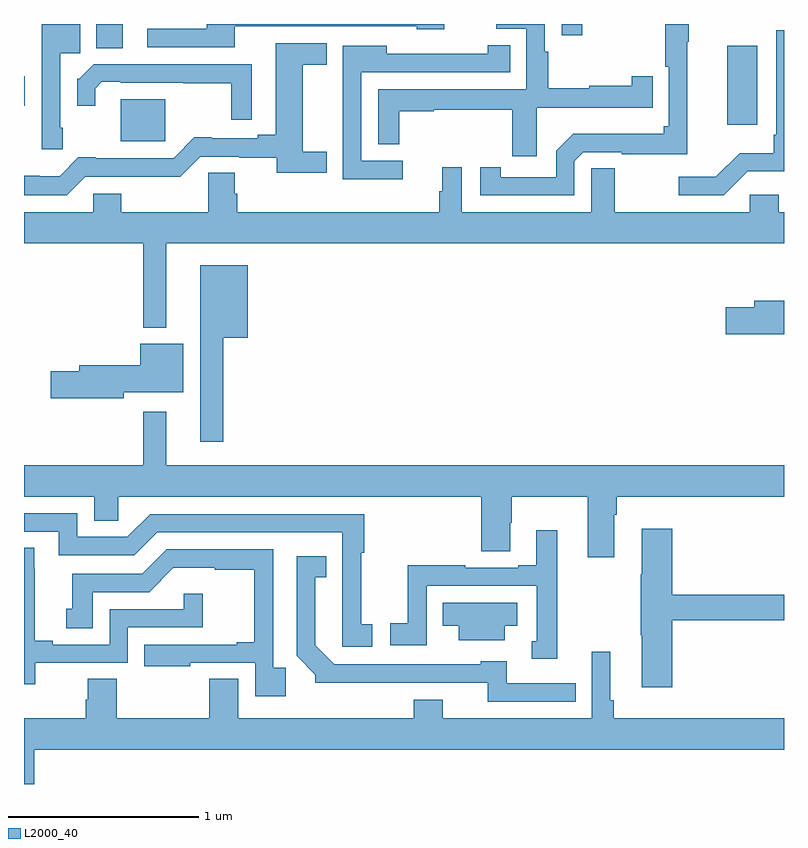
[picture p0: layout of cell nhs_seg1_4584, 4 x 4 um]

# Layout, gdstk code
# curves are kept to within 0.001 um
import gdstk
lib = gdstk.Library(unit=1e-6, precision=1e-09)
def R(c, l, rs):  # rectangles x0, y0, x1, y1
    for r in rs: c.add(gdstk.rectangle(r[:2], r[2:], *l))
def P(c, l, *ps):  # polygons
    for p in ps: c.add(gdstk.Polygon(p, *l))
L2000_40 = (2000, 40)

nhs_seg1_4584 = lib.new_cell('nhs_seg1_4584')
R(nhs_seg1_4584, L2000_40, [(359.51,573.581,359.743,573.802), (362.702,573.669,362.86,574.084), (359,573.769,359.005,573.924), (359.381,574.072,359.521,574.199), (361.83,574.14,361.939,574.199)])
P(nhs_seg1_4584, L2000_40, [(359.203,573.652),(359.19,573.652),(359.19,574.044),(359.296,574.044),(359.296,574.199),(359.094,574.199),(359.094,573.54),(359.203,573.54)],
  [(360.109,574.188),(361.068,574.188),(361.068,574.172),(361.213,574.172),(361.213,574.199),(359.962,574.199),(359.962,574.175),(359.649,574.175),(359.649,574.077),(360.109,574.077)],
  [(361.896,573.477),(361.944,573.525),(362.147,573.525),(362.147,573.513),(362.492,573.513),(362.492,574.106),(362.498,574.106),(362.498,574.199),(362.374,574.199),(362.374,573.974),(362.394,573.974),(362.394,573.66),(362.366,573.66),(362.366,573.622),(361.891,573.622),(361.8,573.531),(361.8,573.393),(361.51,573.393),(361.51,573.445),(361.401,573.445),(361.401,573.297),(361.896,573.297)],
  [(361.699,573.758),(362.309,573.758),(362.309,573.925),(362.198,573.925),(362.198,573.875),(361.974,573.875),(361.974,573.86),(361.76,573.86),(361.76,574.052),(361.74,574.052),(361.74,574.199),(361.485,574.199),(361.485,574.173),(361.644,574.173),(361.644,573.855),(360.864,573.855),(360.864,573.565),(360.976,573.565),(360.976,573.739),(361.157,573.739),(361.157,573.747),(361.571,573.747),(361.571,573.504),(361.699,573.504)],
  [(362.809,573.423),(363,573.423),(363,574.167),(362.958,574.167),(362.958,573.616),(362.946,573.616),(362.946,573.52),(362.768,573.52),(362.642,573.394),(362.445,573.394),(362.445,573.297),(362.683,573.297)],
  [(359.322,573.396),(359.822,573.395),(359.928,573.501),(360.132,573.501),(360.132,573.496),(360.329,573.496),(360.329,573.416),(360.593,573.416),(360.593,573.527),(360.466,573.527),(360.466,573.985),(360.593,573.985),(360.593,574.099),(360.326,574.099),(360.326,573.617),(360.23,573.617),(360.23,573.597),(359.989,573.597),(359.989,573.602),(359.897,573.602),(359.787,573.492),(359.377,573.492),(359.377,573.497),(359.285,573.497),(359.187,573.399),(359,573.4),(359,573.299),(359.225,573.299)],
  [(360.994,573.48),(360.774,573.48),(360.774,573.945),(361.559,573.945),(361.559,574.088),(361.441,574.088),(361.441,574.042),(360.91,574.042),(360.91,574.084),(360.678,574.084),(360.678,573.848),(360.677,573.848),(360.677,573.613),(360.678,573.613),(360.678,573.383),(360.994,573.383)],
  [(360.198,573.987),(359.366,573.987),(359.291,573.912),(359.28,573.912),(359.28,573.768),(359.375,573.768),(359.375,573.858),(359.41,573.894),(359.509,573.894),(359.509,573.891),(359.839,573.891),(359.839,573.886),(360.09,573.886),(360.09,573.696),(360.198,573.696)],
  [(359.749,573.044),(363,573.044),(363,573.208),(362.972,573.208),(362.972,573.301),(362.82,573.301),(362.82,573.208),(362.109,573.208),(362.109,573.44),(361.986,573.44),(361.986,573.208),(361.303,573.208),(361.303,573.445),(361.202,573.445),(361.202,573.318),(361.185,573.318),(361.185,573.208),(360.122,573.208),(360.122,573.306),(360.109,573.306),(360.109,573.416),(359.97,573.416),(359.97,573.208),(359.511,573.208),(359.511,573.306),(359.364,573.306),(359.364,573.208),(359,573.208),(359,573.044),(359.628,573.044),(359.628,572.6),(359.749,572.6)],
  [(360.049,572.549),(360.178,572.549),(360.178,572.929),(359.927,572.929),(359.927,572.001),(360.049,572.001)],
  [(363,572.743),(362.843,572.743),(362.843,572.709),(362.694,572.709),(362.694,572.567),(363,572.567)],
  [(359.526,572.261),(359.839,572.261),(359.839,572.515),(359.612,572.515),(359.612,572.402),(359.291,572.402),(359.291,572.372),(359.142,572.372),(359.142,572.23),(359.526,572.23)],
  [(362.107,571.616),(362.12,571.616),(362.12,571.712),(363,571.712),(363,571.876),(359.749,571.876),(359.749,572.158),(359.628,572.158),(359.628,571.876),(359,571.876),(359,571.712),(359.369,571.712),(359.369,571.585),(359.496,571.585),(359.496,571.712),(361.406,571.712),(361.406,571.423),(361.558,571.423),(361.558,571.574),(361.566,571.574),(361.566,571.712),(361.967,571.712),(361.967,571.392),(362.107,571.392)],
  [(360.832,571.041),(360.774,571.041),(360.774,571.417),(360.791,571.417),(360.791,571.62),(359.664,571.62),(359.544,571.5),(359.28,571.5),(359.28,571.623),(359,571.623),(359,571.527),(359.184,571.527),(359.184,571.404),(359.58,571.404),(359.7,571.524),(360.675,571.524),(360.674,570.921),(360.832,570.921)],
  [(362.411,571.06),(363,571.06),(363,571.196),(362.411,571.196),(362.411,571.543),(362.252,571.543),(362.252,571.304),(362.245,571.304),(362.245,570.983),(362.252,570.983),(362.252,570.708),(362.411,570.708)],
  [(361.807,571.534),(361.697,571.534),(361.697,571.351),(361.601,571.351),(361.601,571.338),(361.322,571.338),(361.322,571.351),(361.021,571.351),(361.021,571.046),(360.927,571.046),(360.927,570.93),(361.119,570.93),(361.119,571.242),(361.698,571.242),(361.698,570.951),(361.673,570.951),(361.673,570.857),(361.807,570.857)],
  [(359.06,570.837),(359.547,570.837),(359.547,571.023),(359.942,571.023),(359.942,571.201),(359.841,571.201),(359.841,571.119),(359.451,571.119),(359.451,570.933),(359.152,570.933),(359.152,570.953),(359.056,570.953),(359.056,571.331),(359.054,571.331),(359.054,571.442),(359,571.442),(359,570.723),(359.06,570.723)],
  [(360.377,570.811),(360.312,570.811),(360.312,571.434),(359.751,571.434),(359.622,571.305),(359.255,571.305),(359.255,571.122),(359.222,571.122),(359.222,571.018),(359.362,571.018),(359.362,571.209),(359.658,571.209),(359.786,571.337),(360.005,571.337),(360.005,571.326),(360.211,571.326),(360.211,570.946),(360.119,570.946),(360.119,570.933),(359.632,570.933),(359.632,570.818),(359.875,570.818),(359.875,570.837),(360.216,570.837),(360.216,570.66),(360.377,570.66)],
  [(361.904,570.729),(361.54,570.729),(361.54,570.844),(361.404,570.844),(361.404,570.828),(360.633,570.828),(360.532,570.929),(360.532,571.286),(360.59,571.286),(360.59,571.399),(360.435,571.399),(360.435,570.874),(360.534,570.775),(360.534,570.731),(361.441,570.732),(361.441,570.633),(361.904,570.633)],
  [(361.531,571.031),(361.597,571.031),(361.597,571.153),(361.204,571.153),(361.204,571.031),(361.289,571.031),(361.289,570.956),(361.531,570.956)],
  [(359.054,570.38),(363,570.38),(363,570.544),(362.105,570.544),(362.105,570.64),(362.086,570.64),(362.086,570.895),(361.989,570.895),(361.989,570.544),(361.204,570.544),(361.204,570.643),(361.052,570.643),(361.052,570.544),(360.127,570.544),(360.127,570.752),(359.975,570.752),(359.975,570.544),(359.489,570.544),(359.489,570.752),(359.336,570.752),(359.336,570.642),(359.324,570.642),(359.324,570.544),(359,570.544),(359,570.199),(359.054,570.199)])

lib.write_gds('nhs_seg1_4584.gds')
